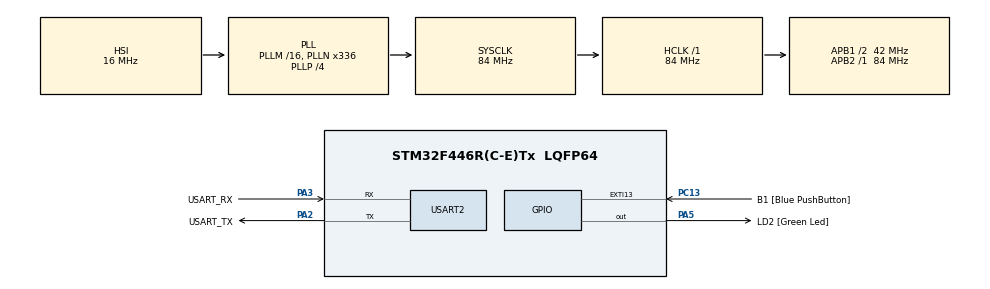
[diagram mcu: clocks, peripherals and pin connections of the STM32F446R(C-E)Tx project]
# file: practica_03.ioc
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Mcu.Family=STM32F4
Mcu.Name=STM32F446R(C-E)Tx
Mcu.Package=LQFP64
NVIC.PriorityGroup=NVIC_PRIORITYGROUP_0
PA13.GPIO_Label=TMS
PA13.Mode=Serial_Wire
PA13.Signal=SYS_JTMS-SWDIO
PA14.GPIO_Label=TCK
PA14.Mode=Serial_Wire
PA14.Signal=SYS_JTCK-SWCLK
PA2.GPIO_Label=USART_TX
PA2.Mode=Asynchronous
PA2.Signal=USART2_TX
PA3.GPIO_Label=USART_RX
PA3.Mode=Asynchronous
PA3.Signal=USART2_RX
PA5.GPIO_Label=LD2 [Green Led]
PA5.Signal=GPIO_Output
PB3.GPIO_Label=SWO
PB3.Signal=SYS_JTDO-SWO
PC13.GPIO_Label=B1 [Blue PushButton]
PC13.GPIO_ModeDefaultEXTI=GPIO_MODE_IT_FALLING
PC13.Signal=GPXTI13
PC14-OSC32_IN.Mode=LSE-External-Oscillator
PC14-OSC32_IN.Signal=RCC_OSC32_IN
PC15-OSC32_OUT.Mode=LSE-External-Oscillator
PC15-OSC32_OUT.Signal=RCC_OSC32_OUT
PH0-OSC_IN.Mode=HSE-External-Oscillator
PH0-OSC_IN.Signal=RCC_OSC_IN
PH1-OSC_OUT.Mode=HSE-External-Oscillator
PH1-OSC_OUT.Signal=RCC_OSC_OUT
ProjectManager.HeapSize=0x200
ProjectManager.StackSize=0x400
ProjectManager.TargetToolchain=STM32CubeIDE
RCC.48MHZClocksFreq_Value=84000000
RCC.AHBFreq_Value=84000000
RCC.APB1CLKDivider=RCC_HCLK_DIV2
RCC.APB1Freq_Value=42000000
RCC.APB1TimFreq_Value=84000000
RCC.APB2Freq_Value=84000000
RCC.APB2TimFreq_Value=84000000
RCC.CortexFreq_Value=84000000
RCC.FLatency-AdvancedSettings=FLASH_LATENCY_2
RCC.HCLKFreq_Value=84000000
RCC.HSE_VALUE=8000000
RCC.HSI_VALUE=16000000
RCC.PLLN=336
RCC.PLLP=RCC_PLLP_DIV4
RCC.SYSCLKFreq_VALUE=84000000
RCC.SYSCLKSource=RCC_SYSCLKSOURCE_PLLCLK
RCC.USBFreq_Value=168000000
RCC.VCOOutputFreq_Value=336000000
USART2.VirtualMode=VM_ASYNC
board=NUCLEO-F446RE

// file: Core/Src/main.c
/* USER CODE BEGIN Header */
/**
  ******************************************************************************
  * @file           : main.c
  * @brief          : Main program body
  ******************************************************************************
  * @attention
  *
  * Copyright (c) 2025 STMicroelectronics.
  * All rights reserved.
  *
  * This software is licensed under terms that can be found in the LICENSE file
  * in the root directory of this software component.
  * If no LICENSE file comes with this software, it is provided AS-IS.
  *
  ******************************************************************************
  */
/* USER CODE END Header */
#include "main.h"
#include "API_delay.h"

UART_HandleTypeDef huart2;

/* USER CODE BEGIN PV */

static delay_t led_delay;
static uint8_t pattern_index = 0;
static uint8_t repetition_count = 0;
static bool led_state = false;
static const tick_t blink_patterns[] = {500, 100, 100, 1000};

/* USER CODE END PV */

void SystemClock_Config(void);
static void MX_GPIO_Init(void);
static void MX_USART2_UART_Init(void);

/* USER CODE BEGIN 0 */

void led_controller_init(void) {
    const tick_t initial_delay = blink_patterns[0];
    delayInit(&led_delay, initial_delay);
}

static void update_led_pattern(void) {
    if (delayRead(&led_delay)) {
        HAL_GPIO_TogglePin(LD2_GPIO_Port, LD2_Pin);
        led_state = !led_state;

        if (!led_state) {
            repetition_count++;

            if (repetition_count >= REPETITIONS_PER_STEP) {
                repetition_count = 0;
                pattern_index = (pattern_index + 1) % PATTERN_STEPS;
            }
        }

        const tick_t new_delay = blink_patterns[pattern_index];

        if(!delayIsRunning(&led_delay)){
			delayWrite(&led_delay, new_delay);
        }
    }
}

/* USER CODE END 0 */

int main(void)
{

  /* USER CODE BEGIN 1 */
  led_controller_init();
  /* USER CODE END 1 */

  /* MCU Configuration--------------------------------------------------------*/

  /* Reset of all peripherals, Initializes the Flash interface and the Systick. */
  HAL_Init();

  /* Configure the system clock */
  SystemClock_Config();

  /* Initialize all configured peripherals */
  MX_GPIO_Init();
  MX_USART2_UART_Init();

  /* Infinite loop */
  while (1)
  {
	  update_led_pattern();
  }
}

void SystemClock_Config(void)
{
  RCC_OscInitTypeDef RCC_OscInitStruct = {0};
  RCC_ClkInitTypeDef RCC_ClkInitStruct = {0};

  /** Configure the main internal regulator output voltage
  */
  __HAL_RCC_PWR_CLK_ENABLE();
  __HAL_PWR_VOLTAGESCALING_CONFIG(PWR_REGULATOR_VOLTAGE_SCALE3);

  /** Initializes the RCC Oscillators according to the specified parameters
  * in the RCC_OscInitTypeDef structure.
  */
  RCC_OscInitStruct.OscillatorType = RCC_OSCILLATORTYPE_HSI;
  RCC_OscInitStruct.HSIState = RCC_HSI_ON;
  RCC_OscInitStruct.HSICalibrationValue = RCC_HSICALIBRATION_DEFAULT;
  RCC_OscInitStruct.PLL.PLLState = RCC_PLL_ON;
  RCC_OscInitStruct.PLL.PLLSource = RCC_PLLSOURCE_HSI;
  RCC_OscInitStruct.PLL.PLLM = 16;
  RCC_OscInitStruct.PLL.PLLN = 336;
  RCC_OscInitStruct.PLL.PLLP = RCC_PLLP_DIV4;
  RCC_OscInitStruct.PLL.PLLQ = 2;
  RCC_OscInitStruct.PLL.PLLR = 2;
  if (HAL_RCC_OscConfig(&RCC_OscInitStruct) != HAL_OK)
  {
    Error_Handler();
  }

  /** Initializes the CPU, AHB and APB buses clocks
  */
  RCC_ClkInitStruct.ClockType = RCC_CLOCKTYPE_HCLK|RCC_CLOCKTYPE_SYSCLK
                              |RCC_CLOCKTYPE_PCLK1|RCC_CLOCKTYPE_PCLK2;
  RCC_ClkInitStruct.SYSCLKSource = RCC_SYSCLKSOURCE_PLLCLK;
  RCC_ClkInitStruct.AHBCLKDivider = RCC_SYSCLK_DIV1;
  RCC_ClkInitStruct.APB1CLKDivider = RCC_HCLK_DIV2;
  RCC_ClkInitStruct.APB2CLKDivider = RCC_HCLK_DIV1;

  if (HAL_RCC_ClockConfig(&RCC_ClkInitStruct, FLASH_LATENCY_2) != HAL_OK)
  {
    Error_Handler();
  }
}

static void MX_USART2_UART_Init(void)
{

  huart2.Instance = USART2;
  huart2.Init.BaudRate = 115200;
  huart2.Init.WordLength = UART_WORDLENGTH_8B;
  huart2.Init.StopBits = UART_STOPBITS_1;
  huart2.Init.Parity = UART_PARITY_NONE;
  huart2.Init.Mode = UART_MODE_TX_RX;
  huart2.Init.HwFlowCtl = UART_HWCONTROL_NONE;
  huart2.Init.OverSampling = UART_OVERSAMPLING_16;
  if (HAL_UART_Init(&huart2) != HAL_OK)
  {
    Error_Handler();
  }

}

static void MX_GPIO_Init(void)
{
  GPIO_InitTypeDef GPIO_InitStruct = {0};

  /* GPIO Ports Clock Enable */
  __HAL_RCC_GPIOC_CLK_ENABLE();
  __HAL_RCC_GPIOH_CLK_ENABLE();
  __HAL_RCC_GPIOA_CLK_ENABLE();
  __HAL_RCC_GPIOB_CLK_ENABLE();

  /*Configure GPIO pin Output Level */
  HAL_GPIO_WritePin(LD2_GPIO_Port, LD2_Pin, GPIO_PIN_RESET);

  /*Configure GPIO pin : B1_Pin */
  GPIO_InitStruct.Pin = B1_Pin;
  GPIO_InitStruct.Mode = GPIO_MODE_IT_FALLING;
  GPIO_InitStruct.Pull = GPIO_NOPULL;
  HAL_GPIO_Init(B1_GPIO_Port, &GPIO_InitStruct);

  /*Configure GPIO pin : LD2_Pin */
  GPIO_InitStruct.Pin = LD2_Pin;
  GPIO_InitStruct.Mode = GPIO_MODE_OUTPUT_PP;
  GPIO_InitStruct.Pull = GPIO_NOPULL;
  GPIO_InitStruct.Speed = GPIO_SPEED_FREQ_LOW;
  HAL_GPIO_Init(LD2_GPIO_Port, &GPIO_InitStruct);

}

void Error_Handler(void)
{
  __disable_irq();
  while (1)
  {
  }
}
